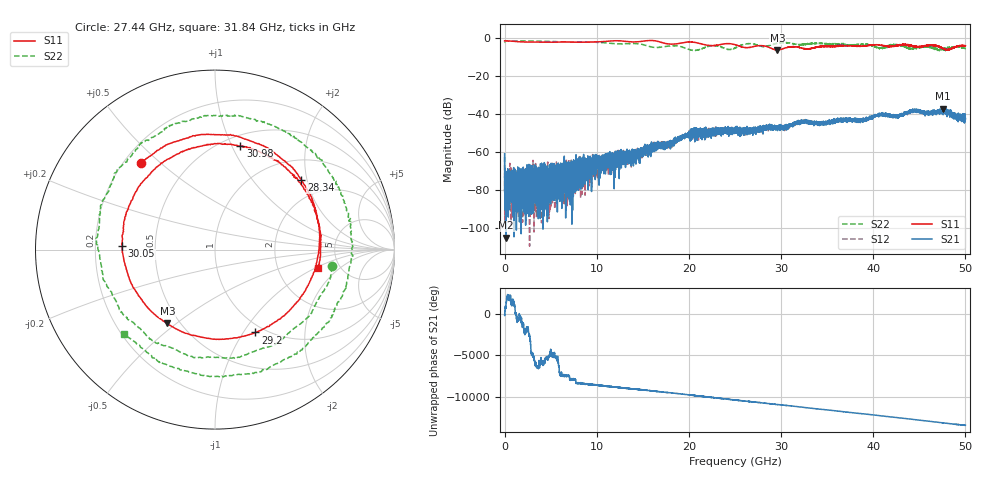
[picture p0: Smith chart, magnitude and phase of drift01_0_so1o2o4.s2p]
!Created with skrf (http://scikit-rf.org).
# Hz S RI R 50.0
!freq ReS11 ImS11 ReS21 ImS21 ReS12 ImS12 ReS22 ImS22
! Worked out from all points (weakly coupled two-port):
!   10001 points, 300 kHz to 50 GHz, reference 50 ohm
!   highest |S21| = -37.07 dB at 47.6 GHz (marker M1); lowest = -105.1 dB at 165.3 MHz (marker M2)
!   lowest |S11| = -6.2 dB at 29.61 GHz (marker M3), VSWR 2.91, Z = 21.5 - j23.2 ohm
!   |S11| at or under -10 dB: nowhere
!   |S22| runs from -6.8 to -1.4 dB; largest |S21 - S12| = 0.0039
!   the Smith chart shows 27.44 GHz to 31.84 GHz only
!   S11 on the Smith chart (normalised r, x): 27.44 GHz: 0.27, +0.43; 28.34 GHz: 1.47, +1.85; 29.2 GHz: 0.90, -1.13; 30.05 GHz: 0.32, +0.02; 30.98 GHz: 0.60, +1.08; 31.84 GHz: 3.43, -1.09
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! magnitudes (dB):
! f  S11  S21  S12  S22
! 300 kHz  -1.3  -60.8  -62.3  -2.1
! 165.3 MHz  -1.4  -105.1  -79.8  -1.4
! 305.3 MHz  -1.4  -69.9  -94.3  -1.4
! 1.27 GHz  -1.7  -75.6  -81.5  -1.4
! 4.735 GHz  -2.1  -69.0  -75.0  -1.6
! 8.335 GHz  -2.0  -70.6  -66.3  -1.8
! 16.67 GHz  -1.7  -57.0  -56.6  -4.8
! 18.62 GHz  -2.9  -54.6  -53.6  -3.9
! 20.38 GHz  -2.0  -49.3  -50.7  -6.3
! 22.59 GHz  -3.9  -48.3  -48.9  -3.8
! 25 GHz  -3.4  -47.1  -47.3  -5.2
! 27.44 GHz  -3.9  -47.3  -47.6  -3.6
! 28.34 GHz  -4.2  -47.3  -47.1  -4.2
! 29.2 GHz  -5.8  -46.6  -46.5  -3.1
! 29.61 GHz  -6.2  -48.6  -46.7  -2.5
! 30.05 GHz  -5.7  -47.3  -47.7  -2.3
! 30.98 GHz  -4.5  -45.7  -45.7  -2.5
! 31.84 GHz  -4.7  -43.4  -45.0  -3.2
! 33.34 GHz  -5.3  -44.1  -44.1  -2.7
! 41.67 GHz  -4.4  -40.0  -40.5  -4.4
! 47.6 GHz  -5.4  -37.1  -38.3  -5.4
! 50 GHz  -3.9  -42.3  -42.9  -5.4
